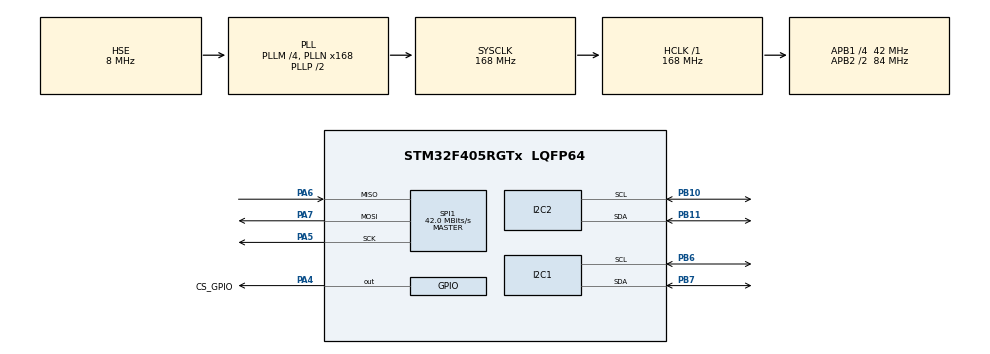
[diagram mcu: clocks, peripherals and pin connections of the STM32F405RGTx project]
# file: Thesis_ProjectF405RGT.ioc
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Mcu.Family=STM32F4
Mcu.Name=STM32F405RGTx
Mcu.Package=LQFP64
NVIC.I2C1_EV_IRQn=true\:0\:0\:false\:false\:true\:true\:true\:true
NVIC.I2C2_EV_IRQn=true\:0\:0\:false\:false\:true\:true\:true\:true
NVIC.PriorityGroup=NVIC_PRIORITYGROUP_4
NVIC.TIM2_IRQn=true\:0\:0\:false\:false\:true\:true\:true\:true
NVIC.TIM3_IRQn=true\:0\:0\:false\:false\:true\:true\:true\:true
PA13.Mode=Serial_Wire
PA13.Signal=SYS_JTMS-SWDIO
PA14.Mode=Serial_Wire
PA14.Signal=SYS_JTCK-SWCLK
PA4.GPIO_Label=CS_GPIO
PA4.Signal=GPIO_Output
PA5.Mode=Full_Duplex_Master
PA5.Signal=SPI1_SCK
PA6.Mode=Full_Duplex_Master
PA6.Signal=SPI1_MISO
PA7.Mode=Full_Duplex_Master
PA7.Signal=SPI1_MOSI
PB10.Mode=I2C
PB10.Signal=I2C2_SCL
PB11.Mode=I2C
PB11.Signal=I2C2_SDA
PB6.Mode=I2C
PB6.Signal=I2C1_SCL
PB7.Mode=I2C
PB7.Signal=I2C1_SDA
PH0-OSC_IN.Mode=HSE-External-Oscillator
PH0-OSC_IN.Signal=RCC_OSC_IN
PH1-OSC_OUT.Mode=HSE-External-Oscillator
PH1-OSC_OUT.Signal=RCC_OSC_OUT
ProjectManager.HeapSize=0x200
ProjectManager.StackSize=0x400
ProjectManager.TargetToolchain=STM32CubeIDE
RCC.48MHZClocksFreq_Value=84000000
RCC.AHBFreq_Value=168000000
RCC.APB1CLKDivider=RCC_HCLK_DIV4
RCC.APB1Freq_Value=42000000
RCC.APB1TimFreq_Value=84000000
RCC.APB2CLKDivider=RCC_HCLK_DIV2
RCC.APB2Freq_Value=84000000
RCC.APB2TimFreq_Value=168000000
RCC.CortexFreq_Value=168000000
RCC.HCLKFreq_Value=168000000
RCC.HSE_VALUE=8000000
RCC.HSI_VALUE=16000000
RCC.LSE_VALUE=32768
RCC.PLLM=4
RCC.PLLN=168
RCC.PLLSourceVirtual=RCC_PLLSOURCE_HSE
RCC.SYSCLKFreq_VALUE=168000000
RCC.SYSCLKSource=RCC_SYSCLKSOURCE_PLLCLK
RCC.VCOOutputFreq_Value=336000000
SPI1.CalculateBaudRate=42.0 MBits/s
SPI1.Direction=SPI_DIRECTION_2LINES
SPI1.Mode=SPI_MODE_MASTER
SPI1.VirtualType=VM_MASTER
TIM2.AutoReloadPreload=TIM_AUTORELOAD_PRELOAD_ENABLE
TIM2.Period=10000-1
TIM2.Prescaler=84-1
TIM3.AutoReloadPreload=TIM_AUTORELOAD_PRELOAD_ENABLE
TIM3.Period=20000-1
TIM3.Prescaler=84-1
VP_TIM2_VS_ClockSourceINT.Mode=Internal
VP_TIM3_VS_ClockSourceINT.Mode=Internal
board=custom

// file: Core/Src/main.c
/* USER CODE BEGIN Header */
/**
  ******************************************************************************
  * @file           : main.c
  * @brief          : Main program body
  ******************************************************************************
  * @attention
  *
  * Copyright (c) 2025 STMicroelectronics.
  * All rights reserved.
  *
  * This software is licensed under terms that can be found in the LICENSE file
  * in the root directory of this software component.
  * If no LICENSE file comes with this software, it is provided AS-IS.
  *
  ******************************************************************************
  */
/* USER CODE END Header */
#include "main.h"
#include "i2c.h"
#include "spi.h"
#include "tim.h"
#include "gpio.h"

/* USER CODE BEGIN Includes */
#include "ekf10Init.h"
#include "ekf10Init_types.h"
#include "rt_nonfinite.h"
#include <string.h>
#include "mcalib.h"

#include "mpu_6500.h"
#include "QMC5883P.h"
#include "bmp280.h"

/* USER CODE END Includes */

/* USER CODE BEGIN PTD */
double initState[6] = {0};
double meanAccel[3];
double meanGyro[3];
double meanMag[3];
double meanAlti;

double AltiM, VelM;
double imuFs = 100;
//ekf_t veasna;
imuData_t imu;
double magNED[3];
double eulDeg[3];
snaData_t sys;
double alti;

double AccelOffset[3];

/* USER CODE END PTD */

/* USER CODE BEGIN PD */

void sensorCalib(void){
  double AltiTmp;
  double mean_tmp[3];
  double accel[3];
  double gyro[3];
  double mag[3];
  for(int i=0; i<100; i++){

	 bmp280_Update();
	 AltiTmp = pressureToAltitude(Baro.baroPressure, 0);
	 meanAlti += AltiTmp;
	 MPU6500_Read_Scaled(accel, gyro, mean_tmp, mean_tmp);
	 qmc5883p_read(mag);
	 mcalib(mag, mag);

	 for (int i=0; i<3; i++){
		 meanGyro[i] += gyro[i];
		 meanMag[i] += mag[i];
		 meanAccel[i] += accel[i];
	 }
	 HAL_Delay(10);
  }

  for(int i=0; i<3; i++) {
    meanGyro[i] /= 100;
    meanMag[i] /= 100;
    meanAccel[i] /= 100;
  }
  meanAlti /= 100;
  static double RefAccel[3] = {0,0,9.81};
  for(int i=0; i<3; i++) AccelOffset[i] = meanAccel[i] - RefAccel[i];
  initStateEKF(meanAccel, meanMag, meanAlti, initState);
}

void HAL_TIM_PeriodElapsedCallback(TIM_HandleTypeDef * htim){
	if (htim->Instance == TIM2){
		static double magNEDTmp[3];
		qmc5883p_read(magNEDTmp);
		mcalib(magNEDTmp, magNED);
//		qmc5883p_read(magNED);
		MPU6500_Read_Scaled(imu.accel, imu.gyro, AccelOffset, meanGyro);
//		ekf10filter(&veasna, &imu, &Mag, &baro);
		ekf10Step(&sys, &imu, magNED, alti);
		for (int i = 0; i<3; i++)
		{
			eulDeg[i] = sys.euler[i] * 180/M_PI;
		}
	}
	if (htim->Instance == TIM3){
		bmp280_Update();
		for (int i=0; i<3; i++) alti = pressureToAltitude(Baro.baroPressure, meanAlti);
		AltiM = sys.x[4];
		VelM = sys.x[5];
	}
}

/* USER CODE END PD */

void SystemClock_Config(void);

int main(void)
{

  /* MCU Configuration--------------------------------------------------------*/

  /* Reset of all peripherals, Initializes the Flash interface and the Systick. */
  HAL_Init();

  /* Configure the system clock */
  SystemClock_Config();

  /* Initialize all configured peripherals */
  MX_GPIO_Init();
  MX_I2C1_Init();
  MX_I2C2_Init();
  MX_SPI1_Init();
  MX_TIM2_Init();
  MX_TIM3_Init();
  /* USER CODE BEGIN 2 */
  MPU6500_Init();
  qmc5883p_init();
  bmp280_Init();
  sensorCalib();
  ekf10Init(imuFs, initState, &sys);
  HAL_Delay(10);

  HAL_TIM_Base_Start_IT(&htim2);
  HAL_TIM_Base_Start_IT(&htim3);

  /* USER CODE END 2 */

  /* Infinite loop */
  while (1)
  {

  }
}

void SystemClock_Config(void)
{
  RCC_OscInitTypeDef RCC_OscInitStruct = {0};
  RCC_ClkInitTypeDef RCC_ClkInitStruct = {0};

  /** Configure the main internal regulator output voltage
  */
  __HAL_RCC_PWR_CLK_ENABLE();
  __HAL_PWR_VOLTAGESCALING_CONFIG(PWR_REGULATOR_VOLTAGE_SCALE1);

  /** Initializes the RCC Oscillators according to the specified parameters
  * in the RCC_OscInitTypeDef structure.
  */
  RCC_OscInitStruct.OscillatorType = RCC_OSCILLATORTYPE_HSE;
  RCC_OscInitStruct.HSEState = RCC_HSE_ON;
  RCC_OscInitStruct.PLL.PLLState = RCC_PLL_ON;
  RCC_OscInitStruct.PLL.PLLSource = RCC_PLLSOURCE_HSE;
  RCC_OscInitStruct.PLL.PLLM = 4;
  RCC_OscInitStruct.PLL.PLLN = 168;
  RCC_OscInitStruct.PLL.PLLP = RCC_PLLP_DIV2;
  RCC_OscInitStruct.PLL.PLLQ = 4;
  if (HAL_RCC_OscConfig(&RCC_OscInitStruct) != HAL_OK)
  {
    Error_Handler();
  }

  /** Initializes the CPU, AHB and APB buses clocks
  */
  RCC_ClkInitStruct.ClockType = RCC_CLOCKTYPE_HCLK|RCC_CLOCKTYPE_SYSCLK
                              |RCC_CLOCKTYPE_PCLK1|RCC_CLOCKTYPE_PCLK2;
  RCC_ClkInitStruct.SYSCLKSource = RCC_SYSCLKSOURCE_PLLCLK;
  RCC_ClkInitStruct.AHBCLKDivider = RCC_SYSCLK_DIV1;
  RCC_ClkInitStruct.APB1CLKDivider = RCC_HCLK_DIV4;
  RCC_ClkInitStruct.APB2CLKDivider = RCC_HCLK_DIV2;

  if (HAL_RCC_ClockConfig(&RCC_ClkInitStruct, FLASH_LATENCY_5) != HAL_OK)
  {
    Error_Handler();
  }
}

void Error_Handler(void)
{
  __disable_irq();
  while (1)
  {
  }
}
